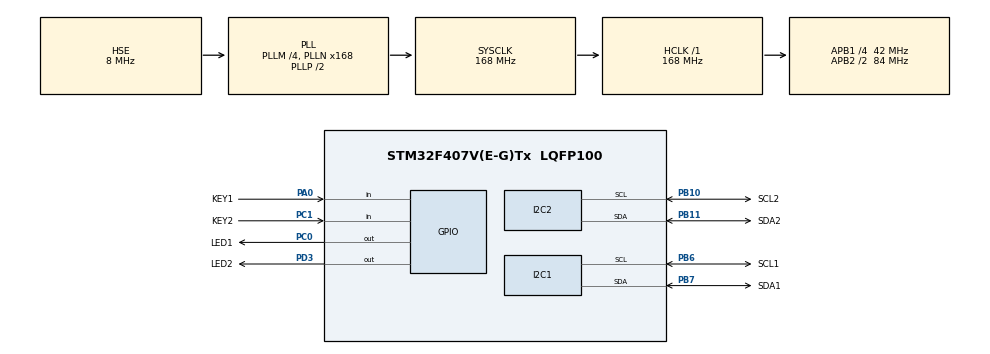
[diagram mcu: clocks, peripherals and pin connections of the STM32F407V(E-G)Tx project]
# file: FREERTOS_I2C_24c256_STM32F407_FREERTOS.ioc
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FREERTOS.Tasks01=defaultTask,24,1024,StartDefaultTask,Default,NULL,Dynamic,NULL,NULL;myTask02,8,1024,StartTask02,Default,NULL,Dynamic,NULL,NULL
FREERTOS.configMINIMAL_STACK_SIZE=512
I2C1.I2C_Mode=I2C_Standard
I2C2.OwnAddress=0x3E
Mcu.Family=STM32F4
Mcu.Name=STM32F407V(E-G)Tx
Mcu.Package=LQFP100
NVIC.I2C1_ER_IRQn=true\:5\:0\:false\:false\:true\:true\:true\:true
NVIC.I2C1_EV_IRQn=true\:5\:0\:false\:false\:true\:true\:true\:true
NVIC.I2C2_ER_IRQn=true\:5\:0\:false\:false\:true\:true\:true\:true
NVIC.I2C2_EV_IRQn=true\:5\:0\:false\:false\:true\:true\:true\:true
NVIC.PriorityGroup=NVIC_PRIORITYGROUP_4
NVIC.TIM1_BRK_TIM9_IRQn=true\:0\:0\:false\:false\:true\:false\:false\:true
NVIC.TimeBase=TIM1_BRK_TIM9_IRQn
NVIC.TimeBaseIP=TIM9
PA0-WKUP.GPIO_Label=KEY1
PA0-WKUP.GPIO_PuPd=GPIO_PULLDOWN
PA0-WKUP.Signal=GPIO_Input
PA13.Mode=Serial_Wire
PA13.Signal=SYS_JTMS-SWDIO
PA14.Mode=Serial_Wire
PA14.Signal=SYS_JTCK-SWCLK
PB10.GPIO_Label=SCL2
PB10.Mode=I2C
PB10.Signal=I2C2_SCL
PB11.GPIO_Label=SDA2
PB11.Mode=I2C
PB11.Signal=I2C2_SDA
PB6.GPIO_Label=SCL1
PB6.Mode=I2C
PB6.Signal=I2C1_SCL
PB7.GPIO_Label=SDA1
PB7.Mode=I2C
PB7.Signal=I2C1_SDA
PC0.GPIO_Label=LED1
PC0.Signal=GPIO_Output
PC1.GPIO_Label=KEY2
PC1.GPIO_PuPd=GPIO_PULLDOWN
PC1.Signal=GPIO_Input
PD3.GPIO_Label=LED2
PD3.Signal=GPIO_Output
PH0-OSC_IN.Mode=HSE-External-Oscillator
PH0-OSC_IN.Signal=RCC_OSC_IN
PH1-OSC_OUT.Mode=HSE-External-Oscillator
PH1-OSC_OUT.Signal=RCC_OSC_OUT
ProjectManager.HeapSize=0x4000
ProjectManager.StackSize=0x8000
ProjectManager.TargetToolchain=TrueSTUDIO
RCC.48MHZClocksFreq_Value=84000000
RCC.AHBFreq_Value=168000000
RCC.APB1CLKDivider=RCC_HCLK_DIV4
RCC.APB1Freq_Value=42000000
RCC.APB1TimFreq_Value=84000000
RCC.APB2CLKDivider=RCC_HCLK_DIV2
RCC.APB2Freq_Value=84000000
RCC.APB2TimFreq_Value=168000000
RCC.CortexFreq_Value=168000000
RCC.HCLKFreq_Value=168000000
RCC.HSE_VALUE=8000000
RCC.HSI_VALUE=16000000
RCC.LSE_VALUE=32768
RCC.PLLM=4
RCC.PLLN=168
RCC.PLLSourceVirtual=RCC_PLLSOURCE_HSE
RCC.SYSCLKFreq_VALUE=168000000
RCC.SYSCLKSource=RCC_SYSCLKSOURCE_PLLCLK
RCC.VCOOutputFreq_Value=336000000
VP_FREERTOS_VS_CMSIS_V2.Mode=CMSIS_V2
VP_SYS_VS_tim9.Mode=TIM9
board=custom

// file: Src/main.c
/* USER CODE BEGIN Header */
/**
 ******************************************************************************
 * @file           : main.c
 * @brief          : Main program body
 ******************************************************************************
 * @attention
 *
 * <h2><center>&copy; Copyright (c) 2019 STMicroelectronics.
 * All rights reserved.</center></h2>
 *
 * This software component is licensed by ST under Ultimate Liberty license
 * SLA0044, the "License"; You may not use this file except in compliance with
 * the License. You may obtain a copy of the License at:
 *                             www.st.com/SLA0044
 *
 ******************************************************************************
 */
/* USER CODE END Header */

#include "main.h"
#include "cmsis_os.h"

/* USER CODE BEGIN Includes */

#include "iic_func.h"
//#include "semphr.h"

/* USER CODE END Includes */

I2C_HandleTypeDef hi2c1;
I2C_HandleTypeDef hi2c2;

osThreadId_t defaultTaskHandle;
osThreadId_t myTask02Handle;
/* USER CODE BEGIN PV */

uint8_t LCD_address = 0x7C; //0x78;
uint8_t I2C_SLAVE_ADDR_24c256=(0x50 << 1) ;

/* USER CODE END PV */

void SystemClock_Config(void);
static void MX_GPIO_Init(void);
static void MX_I2C1_Init(void);
static void MX_I2C2_Init(void);
void StartDefaultTask(void *argument); // for v2
void StartTask02(void *argument); // for v2

/* USER CODE BEGIN 0 */
//SemaphoreHandle_t xSemaphore;

uint8_t transferDirection;
uint8_t transferRequested=0;
uint16_t rxPos=0;
uint8_t txBuf[50]={"1111111122222222222222222333333\n"};
uint8_t rxBuf[50]={"0000000000000000000000000000000\n"};
uint16_t txPos=0;
uint8_t masterWaitTransmit=0;
uint8_t masterWaitTransmit_OK=0;
uint8_t masterWaitRead_OK=0;

int8_t t_frac, t_int;

/* USER CODE END 0 */

int main(void)
{

	/* MCU Configuration--------------------------------------------------------*/

	/* Reset of all peripherals, Initializes the Flash interface and the Systick. */
	HAL_Init();

	/* Configure the system clock */
	SystemClock_Config();

	/* Initialize all configured peripherals */
	MX_GPIO_Init();
	MX_I2C1_Init();
	MX_I2C2_Init();
	/* USER CODE BEGIN 2 */
	printf("start\n");
	/* USER CODE END 2 */

	osKernelInitialize(); // Initialize CMSIS-RTOS

	/* Create the thread(s) */
	/* definition and creation of defaultTask */
	const osThreadAttr_t defaultTask_attributes = {
			.name = "defaultTask",
			.priority = (osPriority_t) osPriorityNormal,
			.stack_size = 1024
	};
	defaultTaskHandle = osThreadNew(StartDefaultTask, NULL, &defaultTask_attributes);

	/* definition and creation of myTask02 */
	const osThreadAttr_t myTask02_attributes = {
			.name = "myTask02",
			.priority = (osPriority_t) osPriorityLow,
			.stack_size = 1024
	};
	myTask02Handle = osThreadNew(StartTask02, NULL, &myTask02_attributes);

	/* Start scheduler */
	osKernelStart();

	/* We should never get here as control is now taken by the scheduler */

	/* Infinite loop */
	while (1)
	{

	}
}

void SystemClock_Config(void)
{
	RCC_OscInitTypeDef RCC_OscInitStruct = {0};
	RCC_ClkInitTypeDef RCC_ClkInitStruct = {0};

	/** Configure the main internal regulator output voltage
	 */
	__HAL_RCC_PWR_CLK_ENABLE();
	__HAL_PWR_VOLTAGESCALING_CONFIG(PWR_REGULATOR_VOLTAGE_SCALE1);
	/** Initializes the CPU, AHB and APB busses clocks
	 */
	RCC_OscInitStruct.OscillatorType = RCC_OSCILLATORTYPE_HSE;
	RCC_OscInitStruct.HSEState = RCC_HSE_ON;
	RCC_OscInitStruct.PLL.PLLState = RCC_PLL_ON;
	RCC_OscInitStruct.PLL.PLLSource = RCC_PLLSOURCE_HSE;
	RCC_OscInitStruct.PLL.PLLM = 4;
	RCC_OscInitStruct.PLL.PLLN = 168;
	RCC_OscInitStruct.PLL.PLLP = RCC_PLLP_DIV2;
	RCC_OscInitStruct.PLL.PLLQ = 4;
	if (HAL_RCC_OscConfig(&RCC_OscInitStruct) != HAL_OK)
	{
		Error_Handler();
	}
	/** Initializes the CPU, AHB and APB busses clocks
	 */
	RCC_ClkInitStruct.ClockType = RCC_CLOCKTYPE_HCLK|RCC_CLOCKTYPE_SYSCLK
			|RCC_CLOCKTYPE_PCLK1|RCC_CLOCKTYPE_PCLK2;
	RCC_ClkInitStruct.SYSCLKSource = RCC_SYSCLKSOURCE_PLLCLK;
	RCC_ClkInitStruct.AHBCLKDivider = RCC_SYSCLK_DIV1;
	RCC_ClkInitStruct.APB1CLKDivider = RCC_HCLK_DIV4;
	RCC_ClkInitStruct.APB2CLKDivider = RCC_HCLK_DIV2;

	if (HAL_RCC_ClockConfig(&RCC_ClkInitStruct, FLASH_LATENCY_5) != HAL_OK)
	{
		Error_Handler();
	}
}

static void MX_I2C1_Init(void)
{

	hi2c1.Instance = I2C1;
	hi2c1.Init.ClockSpeed = 100000;
	hi2c1.Init.DutyCycle = I2C_DUTYCYCLE_2;
	hi2c1.Init.OwnAddress1 = 0;
	hi2c1.Init.AddressingMode = I2C_ADDRESSINGMODE_7BIT;
	hi2c1.Init.DualAddressMode = I2C_DUALADDRESS_DISABLE;
	hi2c1.Init.OwnAddress2 = 0;
	hi2c1.Init.GeneralCallMode = I2C_GENERALCALL_DISABLE;
	hi2c1.Init.NoStretchMode = I2C_NOSTRETCH_DISABLE;
	if (HAL_I2C_Init(&hi2c1) != HAL_OK)
	{
		Error_Handler();
	}

}

static void MX_I2C2_Init(void)
{

	hi2c2.Instance = I2C2;
	hi2c2.Init.ClockSpeed = 100000;
	hi2c2.Init.DutyCycle = I2C_DUTYCYCLE_2;
	hi2c2.Init.OwnAddress1 = 124;
	hi2c2.Init.AddressingMode = I2C_ADDRESSINGMODE_7BIT;
	hi2c2.Init.DualAddressMode = I2C_DUALADDRESS_DISABLE;
	hi2c2.Init.OwnAddress2 = 0;
	hi2c2.Init.GeneralCallMode = I2C_GENERALCALL_DISABLE;
	hi2c2.Init.NoStretchMode = I2C_NOSTRETCH_DISABLE;
	if (HAL_I2C_Init(&hi2c2) != HAL_OK)
	{
		Error_Handler();
	}

}

static void MX_GPIO_Init(void)
{
	GPIO_InitTypeDef GPIO_InitStruct = {0};

	/* GPIO Ports Clock Enable */
	__HAL_RCC_GPIOH_CLK_ENABLE();
	__HAL_RCC_GPIOC_CLK_ENABLE();
	__HAL_RCC_GPIOA_CLK_ENABLE();
	__HAL_RCC_GPIOB_CLK_ENABLE();
	__HAL_RCC_GPIOD_CLK_ENABLE();

	/*Configure GPIO pin Output Level */
	HAL_GPIO_WritePin(LED1_GPIO_Port, LED1_Pin, GPIO_PIN_RESET);

	/*Configure GPIO pin Output Level */
	HAL_GPIO_WritePin(LED2_GPIO_Port, LED2_Pin, GPIO_PIN_RESET);

	/*Configure GPIO pin : LED1_Pin */
	GPIO_InitStruct.Pin = LED1_Pin;
	GPIO_InitStruct.Mode = GPIO_MODE_OUTPUT_PP;
	GPIO_InitStruct.Pull = GPIO_NOPULL;
	GPIO_InitStruct.Speed = GPIO_SPEED_FREQ_LOW;
	HAL_GPIO_Init(LED1_GPIO_Port, &GPIO_InitStruct);

	/*Configure GPIO pin : KEY2_Pin */
	GPIO_InitStruct.Pin = KEY2_Pin;
	GPIO_InitStruct.Mode = GPIO_MODE_INPUT;
	GPIO_InitStruct.Pull = GPIO_PULLDOWN;
	HAL_GPIO_Init(KEY2_GPIO_Port, &GPIO_InitStruct);

	/*Configure GPIO pin : KEY1_Pin */
	GPIO_InitStruct.Pin = KEY1_Pin;
	GPIO_InitStruct.Mode = GPIO_MODE_INPUT;
	GPIO_InitStruct.Pull = GPIO_PULLDOWN;
	HAL_GPIO_Init(KEY1_GPIO_Port, &GPIO_InitStruct);

	/*Configure GPIO pin : LED2_Pin */
	GPIO_InitStruct.Pin = LED2_Pin;
	GPIO_InitStruct.Mode = GPIO_MODE_OUTPUT_PP;
	GPIO_InitStruct.Pull = GPIO_NOPULL;
	GPIO_InitStruct.Speed = GPIO_SPEED_FREQ_LOW;
	HAL_GPIO_Init(LED2_GPIO_Port, &GPIO_InitStruct);

}

/* USER CODE BEGIN 4 */

void HAL_I2C_MasterTxCpltCallback(I2C_HandleTypeDef *hi2c)
{
	uint8_t nn=0;
	if (hi2c-> Instance ==  I2C1)
		nn=1;//printf("1 HAL_I2C_MasterTxCpltCallback I2C1\n");
	else if (hi2c-> Instance ==  I2C2)
		nn=2;//printf("2 HAL_I2C_MasterTxCpltCallback I2C2\n");
	else
		nn=0;//printf(".....\n");
	uint16_t XferCount=hi2c->XferCount;
	uint16_t XferSize=hi2c->XferSize;
	uint16_t more=XferSize-XferCount;
	txPos=txPos+XferCount;
	uint8_t buf[50];
	sprintf(buf,"I2C%x XferSize=%x XferCount=%x txPos=%x more=%x\n",nn,XferSize,XferCount,txPos,more);
	printf(buf);
	if(XferCount >0)
		;
	else
		masterWaitTransmit_OK=1;

	//HAL_I2C_Master_Transmit_IT(hi2c,I2C_SLAVE_ADDR,&txBuf[txPos],more);

}
void HAL_I2C_MemTxCpltCallback(I2C_HandleTypeDef *hi2c)
{
	// возникает когда XferCount становится = 0 см. I2C_MasterTransmit_BTF
	// BTF (Byte transfer finished)

	uint8_t nn=0;
	if (hi2c-> Instance ==  I2C1)
	{
		nn=1;
		masterWaitTransmit_OK=1;
		if(hi2c->XferCount>0)
			printf("не нормально см. I2C_MasterTransmit_BTF\n"); // BTF (Byte transfer finished)
	}
	else if (hi2c-> Instance ==  I2C2)
		nn=2;
	else
		nn=0;

}

void HAL_I2C_MasterRxCpltCallback(I2C_HandleTypeDef *hi2c)
{

}
void HAL_I2C_MemRxCpltCallback(I2C_HandleTypeDef *hi2c)
{
	//см. HAL_I2C_EV_IRQHandler
	if (hi2c-> Instance ==  I2C1)
	{
		if(hi2c->XferCount>0)
			printf("не нормально см. I2C_MasterTransmit_BTF\n"); // BTF (Byte transfer finished)
	}

	masterWaitRead_OK=1;
}

void HAL_I2C_AddrCallback(I2C_HandleTypeDef *hi2c, uint8_t TransferDirection, uint16_t AddrMatchCode)
{
	UNUSED(AddrMatchCode);
	uint8_t nn=0;
	uint8_t buf[15];
	if(hi2c->Instance == I2C1)
	{
		nn=1;//printf("1 HAL_I2C_AddrCallback AddrMatchCode=%x TransferDirection=%x\n",AddrMatchCode,TransferDirection);
	}
	else if(hi2c->Instance == I2C2)
	{
		nn=2;//printf("2 HAL_I2C_AddrCallback AddrMatchCode=%x TransferDirection=%x\n",AddrMatchCode,TransferDirection);
		//transferRequested = 1;
		transferDirection = TransferDirection;
		transferRequested=1;
	}
	/*sprintf(buf,"\nI2C%x AddrCallback \n",nn);
	printf(buf);*/

}

void HAL_I2C_ListenCpltCallback(I2C_HandleTypeDef *hi2c)
{
	//Это когда уже передали стоп

	if (hi2c-> Instance ==  I2C1)
	{
		//printf("1 HAL_I2C_ListenCpltCallback I2C1\n");
	}
	else if (hi2c-> Instance ==  I2C2)
	{
		//printf("2 HAL_I2C_ListenCpltCallback \n");
		//HAL_I2C_EnableListen_IT(hi2c);

	}
}
void HAL_I2C_AbortCpltCallback(I2C_HandleTypeDef *hi2c)
{
	printf("2 HAL_I2C_AbortCpltCallback \n");
}
void HAL_I2C_SlaveRxCpltCallback(I2C_HandleTypeDef *hi2c)
{
	uint8_t nn=0;
	if (hi2c-> Instance ==  I2C1)
		nn=1;
	else if (hi2c-> Instance ==  I2C2)
		nn=2;
	else
		nn=0;//printf(".....\n");
	/*uint16_t XferCount=hi2c->XferCount;
	uint16_t XferSize=hi2c->XferSize;
	uint16_t more=XferSize-XferCount;
	rxPos=rxPos+XferCount;
	uint8_t buf[100];
	sprintf(buf,"SLAVE I2C%x XferSize=%x XferCount=%x txPos=%x more=%x\n",nn,XferSize,XferCount,rxPos,more);
	printf(buf);*/
}

void HAL_I2C_SlaveTxCpltCallback(I2C_HandleTypeDef *hi2c)
{
	if (hi2c-> Instance ==  I2C1)
		;//printf("1 HAL_I2C_SlaveTxCpltCallback\n");
	else if (hi2c-> Instance ==  I2C2)
		;//printf("2 HAL_I2C_SlaveTxCpltCallback\n");
}

void HAL_I2C_ErrorCallback(I2C_HandleTypeDef *hi2c)
{
	uint8_t buf[50];
	uint8_t nn=0;
	if (hi2c-> Instance ==  I2C1)
		nn=1;
	else if (hi2c-> Instance ==  I2C2)
		nn=2;
	else
		nn=0;

	sprintf(buf,"\n I2C%x ErrorCallback\n",nn);
	printf(buf);
}

/* USER CODE END 4 */

void StartDefaultTask(void *argument)
{

	/* USER CODE BEGIN 5 */
	/* Infinite loop */
	/**xSemaphore = xSemaphoreCreateMutex();

	if( xSemaphore != NULL )
	{
		printf("xSemaphore != NULL\n");
	}*/
	/*osDelay(250);
	osDelay(250);*/

	HAL_StatusTypeDef res;
	uint8_t buf[100];

	printf("1 StartDefaultTask %x I2C_SLAVE_ADDR_24c256=0x%0.2X rxBuf[0]=0x%X\n",txBuf[0],I2C_SLAVE_ADDR_24c256,rxBuf[0]);
	uint16_t txAddr=0;
	uint16_t rxAddr=0;
	uint8_t batch=16;
	for(;;)
	{
		if(HAL_GPIO_ReadPin(KEY2_GPIO_Port,KEY2_Pin) == SET)
		{
			HAL_GPIO_WritePin(KEY2_GPIO_Port,KEY2_Pin,RESET);
			HAL_GPIO_WritePin(KEY2_GPIO_Port,KEY2_Pin,RESET);
			HAL_GPIO_WritePin(KEY2_GPIO_Port,KEY2_Pin,RESET);
			vTaskDelay(1);

			printf("\nKEY2_Pin Transmit\n");

			//HAL_I2C_Master_Sequential_Transmit_IT(&hi2c1, I2C_SLAVE_ADDR_24c256, txBuf, 1, I2C_FIRST_FRAME);

			//while (HAL_I2C_GetState(&hi2c1) != HAL_I2C_STATE_READY)
			//	;

			while(HAL_I2C_IsDeviceReady(&hi2c1, I2C_SLAVE_ADDR_24c256 , 1, HAL_MAX_DELAY)!= HAL_OK)
			{
				vTaskDelay(1);
			}
			/*txBuf[0]=(uint8_t)txAddr>>8; // старшая часть адреса
			txBuf[1]=(uint8_t)txAddr & 0xFF;   // младшая часть адреса
			txBuf[2]="=";*/

			for(int ii=0; ii < batch; ii++)
			{
				txBuf[ii]=ii;
				printf("%0.2X ",txBuf[ii]);
			}
			printf("\n");

			res=HAL_I2C_Mem_Write_IT(&hi2c1, I2C_SLAVE_ADDR_24c256, txAddr, I2C_MEMADD_SIZE_16BIT,txBuf, batch);
			txAddr=txAddr+batch;
			/*if(res == HAL_OK)
				printf(" HAL_I2C_Mem_Write_IT == HAL_OK\n");
			else
				printf(" HAL_I2C_Mem_Write_IT != HAL_OK\n");*/

			while(masterWaitTransmit_OK ==0 )
			{
				vTaskDelay(1);
				//printf(" masterWaitTransmit_OK =%x\n",masterWaitTransmit_OK);
			}

			printf("masterWaitTransmit_OK == 1  txAddr:0x%0.4X\n",txAddr);
			masterWaitTransmit_OK=0;

			while (HAL_I2C_GetState(&hi2c1) != HAL_I2C_STATE_READY)
				;

			//HAL_I2C_Master_Sequential_Receive_IT(&hi2c1, I2C_SLAVE_ADDR, txBuf, 1, I2C_LAST_FRAME);
			//res=HAL_I2C_Master_Transmit_IT(&hi2c1,I2C_SLAVE_ADDR, &txBuf[0],1);
			//masterWaitTransmit=1;
			/*if(res != HAL_OK)
						printf("!= HAL_OK\n");
					else
						printf("== HAL_OK\n");*/
			vTaskDelay(1);

		}
		else if(HAL_GPIO_ReadPin(KEY1_GPIO_Port,KEY1_Pin)==SET)
		{
			printf("\n KEY1_Pin \n");

			HAL_GPIO_WritePin(KEY1_GPIO_Port,KEY1_Pin,RESET);
			HAL_GPIO_WritePin(KEY1_GPIO_Port,KEY1_Pin,RESET);
			HAL_GPIO_WritePin(KEY1_GPIO_Port,KEY1_Pin,RESET);
			vTaskDelay(1);

			while(HAL_I2C_IsDeviceReady(&hi2c1, I2C_SLAVE_ADDR_24c256 , 1, HAL_MAX_DELAY)!= HAL_OK)
			{
				vTaskDelay(1);
			}

			res=HAL_I2C_Mem_Read_IT(&hi2c1, I2C_SLAVE_ADDR_24c256, rxAddr, I2C_MEMADD_SIZE_16BIT,rxBuf, batch);

			/*if(res == HAL_OK)
				printf(" HAL_I2C_Mem_Read_IT != HAL_OK rxBuf[0]=%x\n",rxBuf[0]);
			else
				printf(" HAL_I2C_Mem_Read_IT == HAL_OK\n");*/

			while(masterWaitRead_OK == 0 )
			{
				vTaskDelay(1);
				//printf(" masterWaitRead_OK = %x\n",masterWaitRead_OK);
			}

			printf(" masterWaitRead_OK = %x \n",masterWaitRead_OK);
			printf("\n0x%0.4X : ",rxAddr);

			for(uint8_t ii=0;ii<batch; ii++)
			{
				printf("%0.2X ",rxBuf[ii]);
			}
			printf("\n");

			//sprintf(buf,"%s\n",rxBuf);
			//printf(buf);

			rxAddr=rxAddr+batch;

			masterWaitRead_OK=0;

			//HAL_I2C_Master_Sequential_Receive_IT(&hi2c1, I2C_SLAVE_ADDR, txBuf, 1, I2C_LAST_FRAME);

			while (HAL_I2C_GetState(&hi2c1) != HAL_I2C_STATE_READY)
				;

			vTaskDelay(100);

		}

		/*while(HAL_I2C_IsDeviceReady(&hi2c1, LCD_address , 1, 1)!= HAL_OK) //HAL_MAX_DELAY);
		{
			  vTaskDelay(1);
		}*/
		vTaskDelay(1);
	}
	/* USER CODE END 5 */
}

void StartTask02(void *argument)
{
	/* USER CODE BEGIN StartTask02 */
	/* Infinite loop */
	char buf[100];
	printf("2 StartTask02\n");
	transferRequested=0;
	uint8_t *dirWR="\nTRANSFER_DIR_WRITE\n";
	uint8_t *dirRD="\nTRANSFER_DIR_READ\n";

	HAL_StatusTypeDef res;
	while(HAL_I2C_EnableListen_IT(&hi2c2)!=HAL_OK)
		;
	uint32_t lastConversion=0;

	for(;;)
	{
		HAL_I2C_EnableListen_IT(&hi2c2);

		if(transferRequested>0)
		{
			if(HAL_GetTick() - lastConversion > 1000L)
			{
				/*while (HAL_I2C_GetState(&hi2c2) != HAL_I2C_STATE_LISTEN)
				;*/
				/*switch(transferDirection)
				{
				case TRANSFER_DIR_WRITE :
					//printf(dirWR);

					if(HAL_I2C_Slave_Receive_IT(&hi2c2, buf, 1)==HAL_OK)
						printf("\n< %x\n",buf[0]);
					else
						printf("HAL_I2C_Slave_Receive_IT != HAL_OK %x\n",buf[0]);
					//transferRequested=0;

				case TRANSFER_DIR_READ :
					printf(dirRD);
					HAL_I2C_Slave_Receive_IT(&hi2c2, buf, 1);

				default :
					;
				}*/
				lastConversion = HAL_GetTick();
				//printf("\n AddrCallback transferDirection=%x\n",transferDirection);
			}
		}
		transferRequested = 0;

		if(transferDirection == TRANSFER_DIR_WRITE)
		{
			/* Master is sending register address */
			HAL_I2C_Slave_Sequential_Receive_IT(&hi2c2, buf, 1, I2C_FIRST_FRAME);

			while (HAL_I2C_GetState(&hi2c1) != HAL_I2C_STATE_LISTEN)
				;

			switch(buf[0])
			{
			case WHO_AM_I_REGISTER:
				buf[0] = WHO_AM_I_VALUE;
				break;
			case TEMP_OUT_INT_REGISTER:
				buf[0] = t_int;
				break;
			case TEMP_OUT_FRAC_REGISTER:
				buf[0] = t_frac;
				break;
			default:
				buf[0] = 0xFF;
				break;
			}

			HAL_I2C_Slave_Sequential_Transmit_IT(&hi2c2, buf, 1, I2C_LAST_FRAME);

			while (HAL_I2C_GetState(&hi2c2) != HAL_I2C_STATE_READY)
				;
		}

		vTaskDelay(1);
	}

	/* USER CODE END StartTask02 */
}

void HAL_TIM_PeriodElapsedCallback(TIM_HandleTypeDef *htim)
{
	if (htim->Instance == TIM9) {
		HAL_IncTick();
	}
}

void Error_Handler(void)
{
	/* USER CODE BEGIN Error_Handler_Debug */
	/* User can add his own implementation to report the HAL error return state */
	printf("Error_Handler\r\n");
	/* USER CODE END Error_Handler_Debug */
}

#ifdef  USE_FULL_ASSERT
/**
 * @brief  Reports the name of the source file and the source line number
 *         where the assert_param error has occurred.
 * @param  file: pointer to the source file name
 * @param  line: assert_param error line source number
 * @retval None
 */
void assert_failed(uint8_t *file, uint32_t line)
{
	/* USER CODE BEGIN 6 */
	/* User can add his own implementation to report the file name and line number,
     tex: printf("Wrong parameters value: file %s on line %d\r\n", file, line) */
	printf("Wrong parameters value: file %s on line %d\r\n", file, line);
	/* USER CODE END 6 */
}
#endif /* USE_FULL_ASSERT */

/************************ (C) COPYRIGHT STMicroelectronics *****END OF FILE****/
